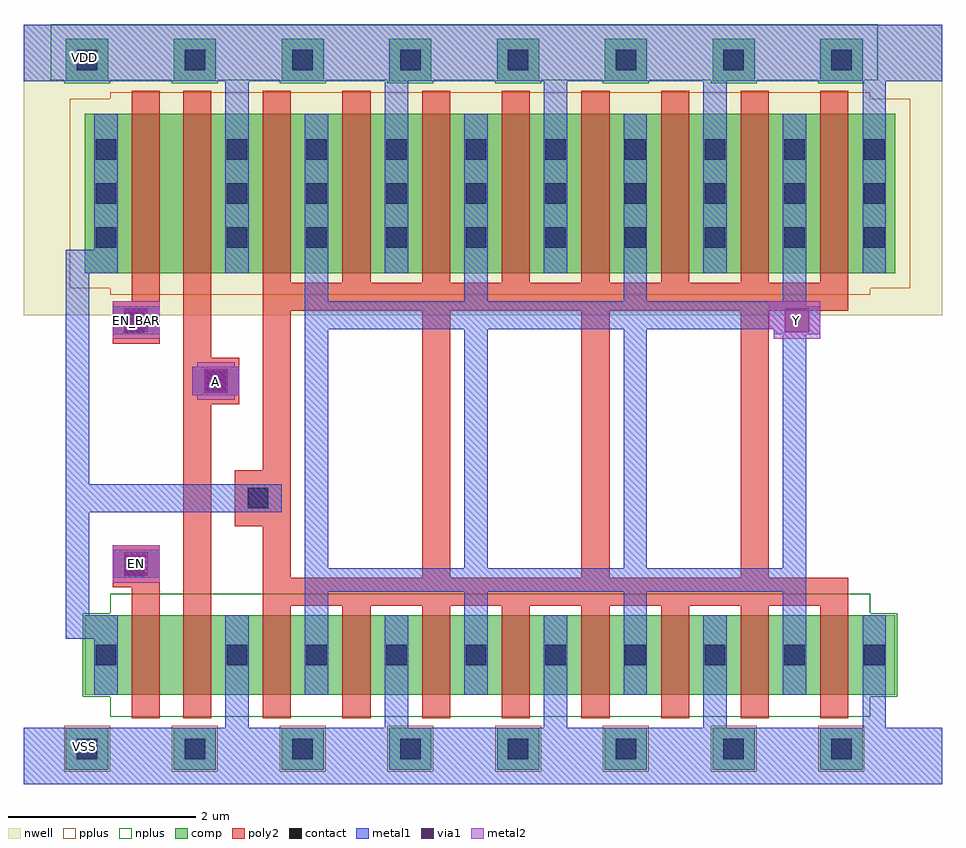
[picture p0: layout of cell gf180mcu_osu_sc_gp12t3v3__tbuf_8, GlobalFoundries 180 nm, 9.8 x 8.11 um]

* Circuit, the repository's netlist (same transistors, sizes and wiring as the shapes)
* Copyright 2022 Google LLC
*
* Licensed under the Apache License, Version 2.0 (the "License");
* you may not use this file except in compliance with the License.
* You may obtain a copy of the License at
*
*      http://www.apache.org/licenses/LICENSE-2.0
*
* Unless required by applicable law or agreed to in writing, software
* distributed under the License is distributed on an "AS IS" BASIS,
* WITHOUT WARRANTIES OR CONDITIONS OF ANY KIND, either express or implied.
* See the License for the specific language governing permissions and
* limitations under the License.

.option scale=0.05u

.subckt gf180mcu_osu_sc_gp12t3v3__tbuf_8 A Y EN EN_BAR
X0 VSS a_13_19 Y VSS nmos_3p3 w=17 l=6
X1 VSS a_13_19 Y VSS nmos_3p3 w=17 l=6
X2 VSS a_13_19 Y VSS nmos_3p3 w=17 l=6
X3 Y a_13_19 VSS VSS nmos_3p3 w=17 l=6
X4 VDD a_13_19 Y VDD pmos_3p3 w=34 l=6
X5 Y a_13_19 VDD VDD pmos_3p3 w=34 l=6
X6 VDD a_13_19 Y VDD pmos_3p3 w=34 l=6
X7 VDD a_13_19 Y VDD pmos_3p3 w=34 l=6
X8 Y a_13_19 VDD VDD pmos_3p3 w=34 l=6
X9 Y a_13_19 VDD VDD pmos_3p3 w=34 l=6
X10 a_29_19 EN a_13_19 VSS nmos_3p3 w=17 l=6
X11 Y a_13_19 VSS VSS nmos_3p3 w=17 l=6
X12 Y a_13_19 VSS VSS nmos_3p3 w=17 l=6
X13 Y a_13_19 VDD VDD pmos_3p3 w=34 l=6
X14 VDD a_13_19 Y VDD pmos_3p3 w=34 l=6
X15 VDD A a_29_109 VDD pmos_3p3 w=34 l=6
X16 Y a_13_19 VSS VSS nmos_3p3 w=17 l=6
X17 VSS A a_29_19 VSS nmos_3p3 w=17 l=6
X18 VSS a_13_19 Y VSS nmos_3p3 w=17 l=6
X19 a_29_109 EN_BAR a_13_19 VDD pmos_3p3 w=34 l=6
.ends

** hspice subcircuit dictionary

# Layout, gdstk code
import gdstk
lib = gdstk.Library(unit=1e-6, precision=1e-09)
def R(c, l, rs):  # rectangles x0, y0, x1, y1
    for r in rs: c.add(gdstk.rectangle(r[:2], r[2:], *l))
def A(c, l, x, y, w, h, nx, ny, dx, dy):  # array of equal rectangles
    R(c, l, [(x+i*dx, y+j*dy, x+i*dx+w, y+j*dy+h) for i in range(nx) for j in range(ny)])
nwell = (21, 0)
comp = (22, 0)
poly2 = (30, 0)
pplus = (31, 0)
nplus = (32, 0)
contact = (33, 0)
metal1 = (34, 0)
via1 = (35, 0)
metal2 = (36, 0)

gf180mcu_osu_sc_gp12t3v3 = lib.new_cell('gf180mcu_osu_sc_gp12t3v3__tbuf_8')
R(gf180mcu_osu_sc_gp12t3v3, nwell, [(0,5,9.8,8.1)])
A(gf180mcu_osu_sc_gp12t3v3, comp, 0.45, 0.15, 0.45, 0.45, 8, 2, 1.15, 7.35)
R(gf180mcu_osu_sc_gp12t3v3, comp, [(0.65,0.95,9.3,1.8), (0.65,5.45,9.3,7.15)])
A(gf180mcu_osu_sc_gp12t3v3, poly2, 2.55, 0.7, 0.3, 1.2, 8, 1, 0.85, 0)
A(gf180mcu_osu_sc_gp12t3v3, poly2, 4.25, 2.2, 0.3, 2.85, 3, 1, 1.7, 0)
A(gf180mcu_osu_sc_gp12t3v3, poly2, 2.55, 5.35, 0.3, 2.05, 8, 1, 0.85, 0)
R(gf180mcu_osu_sc_gp12t3v3, poly2, [(1.15,0.7,1.45,2.1), (1.7,0.7,2,4.05), (2.55,1.9,8.8,2.2), (0.95,2.1,1.45,2.55), (2.55,2.2,2.85,2.75), (2.25,2.75,2.85,3.35), (2.55,3.35,2.85,5.05), (1.7,4.05,2.3,4.55), (1.7,4.55,2,7.4), (0.95,4.7,1.45,5.15), (2.55,5.05,8.8,5.35), (1.15,5.15,1.45,7.4)])
A(gf180mcu_osu_sc_gp12t3v3, pplus, 0.43, 0.13, 0.49, 0.49, 8, 1, 1.15, 0)
R(gf180mcu_osu_sc_gp12t3v3, pplus, [(0.92,5.22,9.03,5.29), (0.49,5.29,9.46,7.31), (0.92,7.31,9.03,7.38)])
A(gf180mcu_osu_sc_gp12t3v3, nplus, 0.43, 7.48, 0.49, 0.03, 8, 1, 1.15, 0)
R(gf180mcu_osu_sc_gp12t3v3, nplus, [(0.92,0.72,9.03,0.93), (0.63,0.93,9.32,1.82), (0.92,1.82,9.03,2.03), (0.29,7.51,9.11,8.11)])
A(gf180mcu_osu_sc_gp12t3v3, contact, 0.565, 0.265, 0.22, 0.22, 8, 2, 1.15, 7.35)
A(gf180mcu_osu_sc_gp12t3v3, contact, 2.165, 1.265, 0.22, 0.22, 9, 2, 0.85, 4.455)
A(gf180mcu_osu_sc_gp12t3v3, contact, 0.765, 5.72, 0.22, 0.22, 1, 3, 0, 0.47)
A(gf180mcu_osu_sc_gp12t3v3, contact, 2.165, 6.19, 0.22, 0.22, 9, 2, 0.85, 0.47)
R(gf180mcu_osu_sc_gp12t3v3, contact, [(0.765,1.265,0.985,1.485), (1.065,2.215,1.285,2.435), (2.39,2.94,2.61,3.16), (1.94,4.19,2.16,4.41), (1.065,4.815,1.285,5.035)])
A(gf180mcu_osu_sc_gp12t3v3, metal1, 2.15, 0.6, 0.25, 1.2, 5, 1, 1.7, 0)
A(gf180mcu_osu_sc_gp12t3v3, metal1, 3, 0.95, 0.25, 1.1, 4, 1, 1.7, 0)
A(gf180mcu_osu_sc_gp12t3v3, metal1, 3, 2.3, 0.25, 2.55, 3, 1, 1.7, 0)
A(gf180mcu_osu_sc_gp12t3v3, metal1, 3, 5.15, 0.25, 2, 4, 1, 1.7, 0)
A(gf180mcu_osu_sc_gp12t3v3, metal1, 2.15, 5.45, 0.25, 2.05, 5, 1, 1.7, 0)
R(gf180mcu_osu_sc_gp12t3v3, metal1, [(0,0,9.8,0.6), (0.75,0.95,1,1.55), (0.45,1.55,1,1.8), (0.45,1.8,0.7,2.9), (3,2.05,8.35,2.3), (0.95,2.2,1.45,2.5), (8.1,2.3,8.35,4.8), (0.45,2.9,2.75,3.2), (0.45,3.2,0.7,5.45), (1.8,4.15,2.3,4.45), (0.95,4.8,1.45,5.1), (8,4.8,8.5,4.85), (3,4.85,8.5,5.1), (3,5.1,8.35,5.15), (0.45,5.45,1,5.7), (0.75,5.7,1,7.15), (0,7.5,9.8,8.1)])
R(gf180mcu_osu_sc_gp12t3v3, via1, [(1.07,2.22,1.33,2.48), (1.92,4.17,2.18,4.43), (1.07,4.82,1.33,5.08), (8.12,4.82,8.38,5.08)])
R(gf180mcu_osu_sc_gp12t3v3, metal2, [(0.95,2.15,1.45,2.55), (1.85,4.1,2.25,4.15), (1.8,4.15,2.3,4.45), (1.85,4.45,2.25,4.5), (0.95,4.75,1.45,5.15), (8,4.75,8.5,4.85), (7.95,4.85,8.5,5.15)])
gf180mcu_osu_sc_gp12t3v3.add(gdstk.Label('VDD', (0.65,7.75), layer=34, texttype=0))
gf180mcu_osu_sc_gp12t3v3.add(gdstk.Label('VSS', (0.65,0.4), layer=34, texttype=0))
gf180mcu_osu_sc_gp12t3v3.add(gdstk.Label('A', (2.05,4.3), layer=36, texttype=10))
gf180mcu_osu_sc_gp12t3v3.add(gdstk.Label('Y', (8.25,4.95), layer=36, texttype=10))
gf180mcu_osu_sc_gp12t3v3.add(gdstk.Label('EN', (1.2,2.35), layer=36, texttype=10))
gf180mcu_osu_sc_gp12t3v3.add(gdstk.Label('EN_BAR', (1.2,4.95), layer=36, texttype=10))

lib.write_gds('gf180mcu_osu_sc_gp12t3v3__tbuf_8.gds')
